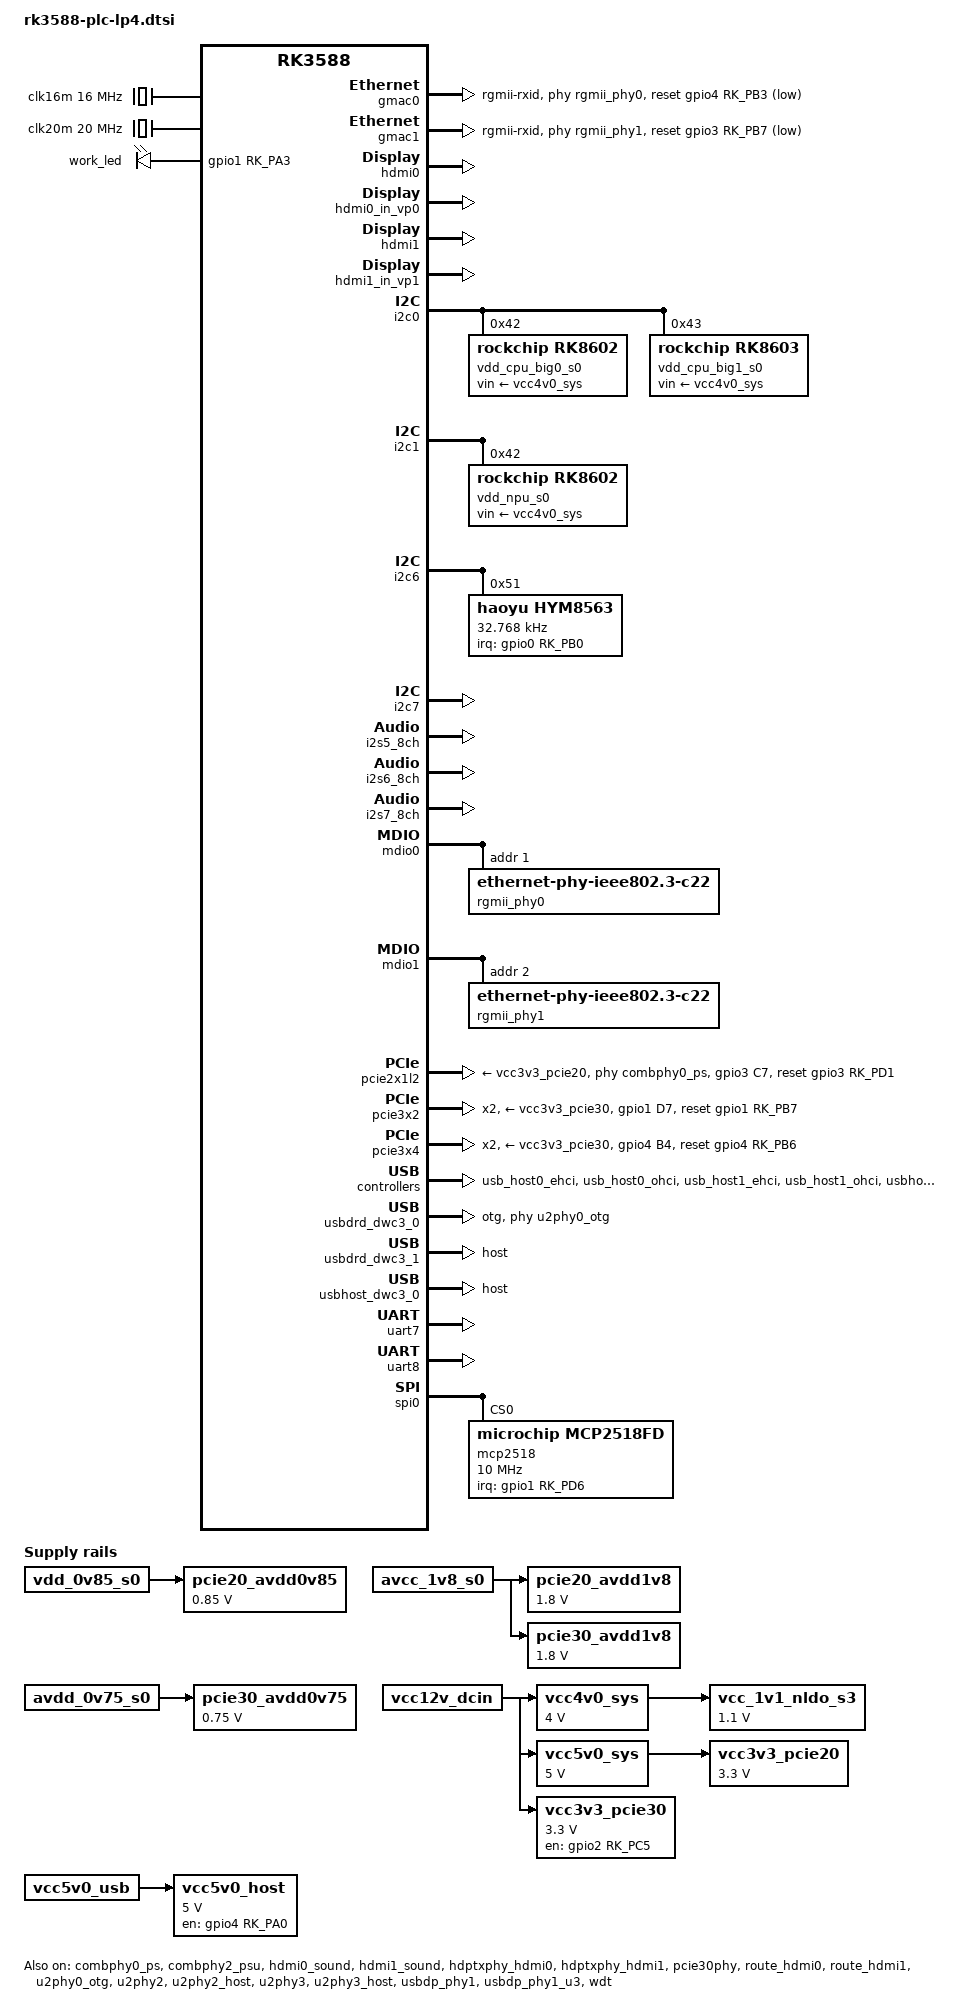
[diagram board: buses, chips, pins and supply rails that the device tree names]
// SPDX-License-Identifier: (GPL-2.0+ OR MIT)
/*
 * Copyright (c) 2021 Rockchip Electronics Co., Ltd.
 *
 */

#include "dt-bindings/usb/pd.h"
#include "rk3588.dtsi"
#include "rk3588-evb.dtsi"
#include "rk3588-rk806-single.dtsi"

/ {
	/* If hdmirx node is disabled, delete the reserved-memory node here. */
/*	reserved-memory {
		#address-cells = <2>;
		#size-cells = <2>;
		ranges;

		/* Reserve 128MB memory for hdmirx-controller@fdee0000 */
/*		cma {
			compatible = "shared-dma-pool";
			reusable;
			reg = <0x0 (256 * 0x100000) 0x0 (128 * 0x100000)>;
			linux,cma-default;
		};
	};
*/
	es8388_sound: es8388-sound {
		status = "disabled";
		compatible = "rockchip,multicodecs-card";
		rockchip,card-name = "rockchip-es8388";
		hp-det-gpio = <&gpio1 RK_PC4 GPIO_ACTIVE_LOW>;
		io-channels = <&saradc 3>;
		io-channel-names = "adc-detect";
		keyup-threshold-microvolt = <1800000>;
		poll-interval = <100>;
		spk-con-gpio = <&gpio4 RK_PA2 GPIO_ACTIVE_HIGH>;
		hp-con-gpio = <&gpio4 RK_PA7 GPIO_ACTIVE_HIGH>;
		rockchip,format = "i2s";
		rockchip,mclk-fs = <256>;
		rockchip,cpu = <&i2s0_8ch>;
		rockchip,codec = <&es8388>;
		rockchip,audio-routing =
			"Headphone", "LOUT1",
			"Headphone", "ROUT1",
			"Speaker", "LOUT2",
			"Speaker", "ROUT2",
			"Headphone", "Headphone Power",
			"Headphone", "Headphone Power",
			"Speaker", "Speaker Power",
			"Speaker", "Speaker Power",
			"LINPUT1", "Main Mic",
			"LINPUT2", "Main Mic",
			"RINPUT1", "Headset Mic",
			"RINPUT2", "Headset Mic";
		pinctrl-names = "default";
	//	pinctrl-0 = <&hp_det>;
		play-pause-key {
			label = "playpause";
			linux,code = <KEY_PLAYPAUSE>;
			press-threshold-microvolt = <2000>;
		};
	};

	/*fan: pwm-fan {
		compatible = "pwm-fan";
		#cooling-cells = <2>;
		pwms = <&pwm3 0 50000 0>;
		cooling-levels = <0 50 100 150 200 255>;
		rockchip,temp-trips = <
			50000	1
			55000	2
			60000	3
			65000	4
			70000	5
		>;
	};*/

	/*hdmiin-sound {
		compatible = "rockchip,hdmi";
		rockchip,mclk-fs = <128>;
		rockchip,format = "i2s";
		rockchip,bitclock-master = <&hdmirx_ctrler>;
		rockchip,frame-master = <&hdmirx_ctrler>;
		rockchip,card-name = "rockchip,hdmiin";
		rockchip,cpu = <&i2s7_8ch>;
		rockchip,codec = <&hdmirx_ctrler 0>;
		rockchip,jack-det;
	};*/

	pcie20_avdd0v85: pcie20-avdd0v85 {
		compatible = "regulator-fixed";
		regulator-name = "pcie20_avdd0v85";
		regulator-boot-on;
		regulator-always-on;
		regulator-min-microvolt = <850000>;
		regulator-max-microvolt = <850000>;
		vin-supply = <&vdd_0v85_s0>;
	};

	pcie20_avdd1v8: pcie20-avdd1v8 {
		compatible = "regulator-fixed";
		regulator-name = "pcie20_avdd1v8";
		regulator-boot-on;
		regulator-always-on;
		regulator-min-microvolt = <1800000>;
		regulator-max-microvolt = <1800000>;
		vin-supply = <&avcc_1v8_s0>;
	};

	pcie30_avdd0v75: pcie30-avdd0v75 {
		compatible = "regulator-fixed";
		regulator-name = "pcie30_avdd0v75";
		regulator-boot-on;
		regulator-always-on;
		regulator-min-microvolt = <750000>;
		regulator-max-microvolt = <750000>;
		vin-supply = <&avdd_0v75_s0>;
	};

	pcie30_avdd1v8: pcie30-avdd1v8 {
		compatible = "regulator-fixed";
		regulator-name = "pcie30_avdd1v8";
		regulator-boot-on;
		regulator-always-on;
		regulator-min-microvolt = <1800000>;
		regulator-max-microvolt = <1800000>;
		vin-supply = <&avcc_1v8_s0>;
	};

	/*sdio_pwrseq: sdio-pwrseq {
		compatible = "mmc-pwrseq-simple";
		clocks = <&hym8563>;
		clock-names = "ext_clock";
		pinctrl-names = "default";
		pinctrl-0 = <&wifi_enable_h>;
		/*
		 * On the module itself this is one of these (depending
		 * on the actual card populated):
		 * - SDIO_RESET_L_WL_REG_ON
		 * - PDN (power down when low)
		 */
		/*post-power-on-delay-ms = <200>;
		reset-gpios = <&gpio0 RK_PC4 GPIO_ACTIVE_LOW>;
	};*/

/*	rk_headset: rk-headset {
		status = "disabled";
		compatible = "rockchip_headset";
		headset_gpio = <&gpio1 RK_PD5 GPIO_ACTIVE_LOW>;
		pinctrl-names = "default";
		pinctrl-0 = <&hp_det>;
		io-channels = <&saradc 3>;
	};*/

	vcc4v0_sys: vcc4v0-sys {//FEP Pimc 是12转4
			compatible = "regulator-fixed";
			regulator-name = "vcc4v0_sys";
			regulator-always-on;
			regulator-boot-on;
			regulator-min-microvolt = <4000000>;
			regulator-max-microvolt = <4000000>;
			vin-supply = <&vcc12v_dcin>;
	};

	vcc_1v1_nldo_s3: vcc-1v1-nldo-s3 {
		compatible = "regulator-fixed";
		regulator-name = "vcc_1v1_nldo_s3";
		regulator-always-on;
		regulator-boot-on;
		regulator-min-microvolt = <1100000>;
		regulator-max-microvolt = <1100000>;
		vin-supply = <&vcc4v0_sys>;
	};

	/*vcc3v3_lcd_n: vcc3v3-lcd0-n {
		compatible = "regulator-fixed";
		regulator-name = "vcc3v3_lcd0_n";
		regulator-boot-on;
		enable-active-high;
		gpio = <&gpio2 RK_PC1 GPIO_ACTIVE_HIGH>;
		vin-supply = <&vcc_1v8_s0>;
	};*/

	vcc5v0_sys: vcc5v0-sys {//仿照飞凌
			compatible = "regulator-fixed";
			regulator-name = "vcc5v0_sys";
			regulator-always-on;
			regulator-boot-on;
			regulator-min-microvolt = <5000000>;
			regulator-max-microvolt = <5000000>;
			vin-supply = <&vcc12v_dcin>;
	};

	vcc3v3_pcie30: vcc3v3-pcie30 {
		compatible = "regulator-fixed";
		regulator-name = "vcc3v3_pcie30";
		regulator-min-microvolt = <3300000>;
		regulator-max-microvolt = <3300000>;
		enable-active-high;
		gpios = <&gpio2 RK_PC5 GPIO_ACTIVE_HIGH>;
		startup-delay-us = <5000>;
	//	startup-delay-us = <500000>;
		//startup-delay-us = <0>;
		vin-supply = <&vcc12v_dcin>;
	};

/*
	vcc3v3_pcie30: vcc3v3_pcie30 {//仿照飞凌
		compatible = "regulator-fixed";
		regulator-name = "vcc3v3_pcie30";
		regulator-boot-on;
		regulator-always-on;
		regulator-min-microvolt = <3300000>;
		gpios = <&gpio2 RK_PC5 GPIO_ACTIVE_HIGH>;//for plc
		regulator-max-microvolt = <3300000>;
		vin-supply = <&vcc5v0_sys>;
	};
*/

	vcc3v3_pcie20: vcc3v3-pcie20 {//仿照飞凌
		compatible = "regulator-fixed";
		regulator-name = "vcc3v3-pcie20";
		regulator-boot-on;
		regulator-always-on;
		regulator-min-microvolt = <3300000>;
		regulator-max-microvolt = <3300000>;
		vin-supply = <&vcc5v0_sys>;
	};


	vcc5v0_host: vcc5v0-host {
		compatible = "regulator-fixed";
		regulator-name = "vcc5v0_host";
		regulator-boot-on;
		regulator-always-on;
		regulator-min-microvolt = <5000000>;
		regulator-max-microvolt = <5000000>;
		enable-active-high;
		gpio = <&gpio4 RK_PA0 GPIO_ACTIVE_HIGH>;//FEP中GPIO4 RK_PB0与UART8的PIN脚冲突，到时要根据实际情况修改
		vin-supply = <&vcc5v0_usb>;
		pinctrl-names = "default";
		pinctrl-0 = <&vcc5v0_host_en>;
	};
/*
	vcc_mipicsi0: vcc-mipicsi0-regulator {
		compatible = "regulator-fixed";
		gpio = <&gpio1 RK_PD2 GPIO_ACTIVE_HIGH>;
		pinctrl-names = "default";
		pinctrl-0 = <&mipicsi0_pwr>;
		regulator-name = "vcc_mipicsi0";
		enable-active-high;
	};

	vcc_mipicsi1: vcc-mipicsi1-regulator {
		compatible = "regulator-fixed";
		gpio = <&gpio1 RK_PD3 GPIO_ACTIVE_HIGH>;
		pinctrl-names = "default";
		pinctrl-0 = <&mipicsi1_pwr>;
		regulator-name = "vcc_mipicsi1";
		enable-active-high;
	};

	vcc_mipidcphy0: vcc-mipidcphy0-regulator {
		compatible = "regulator-fixed";
		gpio = <&gpio2 RK_PC4 GPIO_ACTIVE_HIGH>;
		pinctrl-names = "default";
		pinctrl-0 = <&mipidcphy0_pwr>;
		regulator-name = "vcc_mipidcphy0";
		enable-active-high;
	};

	vcc_3v3_sd_s0: vcc-3v3-sd-s0-regulator {
		compatible = "regulator-fixed";
		gpio = <&gpio0 RK_PB7 GPIO_ACTIVE_HIGH>;
		pinctrl-names = "default";
		pinctrl-0 = <&sd_s0_pwr>;
		regulator-name = "vcc_3v3_sd_s0";
		enable-active-high;
	};

	wireless_bluetooth: wireless-bluetooth {
		compatible = "bluetooth-platdata";
		clocks = <&hym8563>;
		clock-names = "ext_clock";
		uart_rts_gpios = <&gpio4 RK_PC4 GPIO_ACTIVE_LOW>;
		pinctrl-names = "default", "rts_gpio";
		pinctrl-0 = <&uart9m0_rtsn>, <&bt_reset_gpio>, <&bt_wake_gpio>, <&bt_irq_gpio>;
		pinctrl-1 = <&uart9_gpios>;
		BT,reset_gpio    = <&gpio0 RK_PC6 GPIO_ACTIVE_HIGH>;
		BT,wake_gpio     = <&gpio0 RK_PC5 GPIO_ACTIVE_HIGH>;
		BT,wake_host_irq = <&gpio0 RK_PA0 GPIO_ACTIVE_HIGH>;
		status = "okay";
	};

	wireless_wlan: wireless-wlan {
		compatible = "wlan-platdata";
		wifi_chip_type = "ap6398s";
		pinctrl-names = "default";
		pinctrl-0 = <&wifi_host_wake_irq>;
		WIFI,host_wake_irq = <&gpio0 RK_PB2 GPIO_ACTIVE_HIGH>;
		WIFI,poweren_gpio = <&gpio0 RK_PC4 GPIO_ACTIVE_HIGH>;
		status = "okay";
	};
*/
	clk16m: clk16m{
                compatible = "fixed-clock";
                #clock-cells = <0>;
                clock-frequency = <16000000>;
        };


	clk20m: clk20m{
                compatible = "fixed-clock";
                #clock-cells = <0>;
                clock-frequency = <20000000>;
        };

};
/*
&backlight {
	pwms = <&pwm1 0 25000 0>;
	status = "okay";
};*/

&combphy0_ps {
	status = "okay";
};

&combphy1_ps {
	status = "disabled";
};

&combphy2_psu {
	status = "okay";
};

&dp0 {
	pinctrl-names = "default";
	//pinctrl-0 = <&dp0m1_pins>;
	//pinctrl-0 = <&dp0_hpd>;
//	hpd-gpios = <&gpio0 RK_PC4 GPIO_ACTIVE_HIGH>;
	status = "disabled";
};

&dp0_in_vp2 {
	status = "disabled";
};
/*
&dp1 {
	pinctrl-names = "default";
	pinctrl-0 = <&dp1m0_pins>;
	status = "okay";
};

&dp1_in_vp2 {
	status = "okay";
};
*/

/*
 * mipi_dcphy0 needs to be enabled
 * when dsi0 is enabled
 */
/*&dsi0 {
	status = "okay";
};

&dsi0_in_vp2 {
	status = "disabled";
};

&dsi0_in_vp3 {
	status = "disbaled";
};

&dsi0_panel {
	power-supply = <&vcc3v3_lcd_n>;
	reset-gpios = <&gpio0 RK_PD3 GPIO_ACTIVE_LOW>;
	pinctrl-names = "default";
	pinctrl-0 = <&lcd_rst_gpio>;
};
*/
/*
 * mipi_dcphy1 needs to be enabled
 * when dsi1 is enabled
 */
/*&dsi1 {
	status = "disabled";
};

&dsi1_in_vp2 {
	status = "disabled";
};

&dsi1_in_vp3 {
	status = "disabled";
};

&dsi1_panel {
	power-supply = <&vcc3v3_lcd_n>;*/

	/*
	 * because in hardware, the two screens share the reset pin,
	 * so reset-gpios need only in dsi1 enable and dsi0 disabled
	 * case.
	 */

	//reset-gpios = <&gpio0 RK_PD3 GPIO_ACTIVE_LOW>;
	//pinctrl-names = "default";
	//pinctrl-0 = <&lcd_rst_gpio>;
/*};*/

&gmac0 {
        /* Use rgmii-rxid mode to disable rx delay inside Soc */
        phy-mode = "rgmii-rxid";
        clock_in_out = "output";

        snps,reset-gpio = <&gpio4 RK_PB3 GPIO_ACTIVE_LOW>;//PLC的是GPIO4_B3
        snps,reset-active-low;
        /* Reset time is 20ms, 100ms for rtl8211f */
        snps,reset-delays-us = <0 20000 100000>;

        pinctrl-names = "default";
        pinctrl-0 = <&gmac0_miim
                     &gmac0_tx_bus2
                     &gmac0_rx_bus2
                     &gmac0_rgmii_clk
                     &gmac0_rgmii_bus>;

        tx_delay = <0x44>;
        /* rx_delay = <0x4f>; */

        phy-handle = <&rgmii_phy0>;
        status = "okay";
};

&gmac1 {
	/* Use rgmii-rxid mode to disable rx delay inside Soc */
	phy-mode = "rgmii-rxid";
	clock_in_out = "output";

	snps,reset-gpio = <&gpio3 RK_PB7 GPIO_ACTIVE_LOW>;//PLC 的是GPIO3_B7
	snps,reset-active-low;
	/* Reset time is 20ms, 100ms for rtl8211f */
	snps,reset-delays-us = <0 20000 100000>;

	pinctrl-names = "default";
	pinctrl-0 = <&gmac1_miim
		     &gmac1_tx_bus2
		     &gmac1_rx_bus2
		     &gmac1_rgmii_clk
		     &gmac1_rgmii_bus>;

	tx_delay = <0x44>;
	/* rx_delay = <0x3f>; */

	phy-handle = <&rgmii_phy1>;
	status = "okay";
};

&hdmi0 {
	enable-gpios = <&gpio4 RK_PB2 GPIO_ACTIVE_HIGH>;
	status = "okay";
};

&hdmi0_in_vp0 {
	status = "okay";
};

&hdmi0_sound {
	status = "okay";
};

&hdmi1 {
	enable-gpios = <&gpio4 RK_PA1 GPIO_ACTIVE_HIGH>;
	status = "okay";
};

&hdmi1_in_vp1 {
	status = "okay";
};

&hdmi1_sound {
	status = "okay";
};

/* Should work with at least 128MB cma reserved above. */
/*&hdmirx_ctrler {
	status = "disabled";

	#sound-dai-cells = <1>;
	/* Effective level used to trigger HPD: 0-low, 1-high */
	/*hpd-trigger-level = <1>;
	hdmirx-det-gpios = <&gpio1 RK_PD5 GPIO_ACTIVE_LOW>;
	pinctrl-names = "default";
	pinctrl-0 = <&hdmim1_rx &hdmirx_det>;
};*/

&hdptxphy_hdmi0 {
	status = "okay";
};

&hdptxphy_hdmi1 {
	status = "okay";
};

&hdptxphy_hdmi_clk0 {
	status = "okay";
};

&hdptxphy_hdmi_clk1 {
	status = "okay";
};

&display_subsystem { 
	clocks = <&hdptxphy_hdmi_clk0>,<&hdptxphy_hdmi_clk1>;
	clock-names = "hdmi0_phy_pll","hdmi1_phy_pll";
};

/*
&vp0 {
	assigned-clocks = <&cru DCLK_VOP0>;
	assigned-clock-parents = <&hdptxphy_hdmi_clk0>;
};

&vp1 {
	assigned-clocks = <&cru DCLK_VOP1>;
	assigned-clock-parents = <&hdptxphy_hdmi_clk1>;
};*/

&i2c0 {
	status = "okay";
	pinctrl-names = "default";
	pinctrl-0 = <&i2c0m2_xfer>;

	vdd_cpu_big0_s0: vdd_cpu_big0_mem_s0: rk8602@42 {
		compatible = "rockchip,rk8602";
		reg = <0x42>;
		vin-supply = <&vcc4v0_sys>;
		regulator-compatible = "rk860x-reg";
		regulator-name = "vdd_cpu_big0_s0";
		regulator-min-microvolt = <550000>;
		regulator-max-microvolt = <1050000>;
		regulator-ramp-delay = <2300>;
		rockchip,suspend-voltage-selector = <1>;
		regulator-boot-on;
		regulator-always-on;
		regulator-state-mem {
			regulator-off-in-suspend;
		};
	};

	vdd_cpu_big1_s0: vdd_cpu_big1_mem_s0: rk8603@43 {
		compatible = "rockchip,rk8603";
		reg = <0x43>;
		vin-supply = <&vcc4v0_sys>;
		regulator-compatible = "rk860x-reg";
		regulator-name = "vdd_cpu_big1_s0";
		regulator-min-microvolt = <550000>;
		regulator-max-microvolt = <1050000>;
		regulator-ramp-delay = <2300>;
		rockchip,suspend-voltage-selector = <1>;
		regulator-boot-on;
		regulator-always-on;
		regulator-state-mem {
			regulator-off-in-suspend;
		};
	};
};

&i2c1 {
	status = "okay";
	pinctrl-names = "default";
	pinctrl-0 = <&i2c1m2_xfer>;

	vdd_npu_s0: vdd_npu_mem_s0: rk8602@42 {
		compatible = "rockchip,rk8602";
		reg = <0x42>;
		vin-supply = <&vcc4v0_sys>;
		regulator-compatible = "rk860x-reg";
		regulator-name = "vdd_npu_s0";
		regulator-min-microvolt = <550000>;
		regulator-max-microvolt = <950000>;
		regulator-ramp-delay = <2300>;
		rockchip,suspend-voltage-selector = <1>;
		regulator-boot-on;
		regulator-always-on;
		regulator-state-mem {
			regulator-off-in-suspend;
		};
	};
};

/*&i2c4 {
	status = "okay;
	pinctrl-0 = <&i2c4m1_xfer>;

	ls_stk3332: light@47 {
		compatible = "ls_stk3332";
		status = "disabled";
		reg = <0x47>;
		type = <SENSOR_TYPE_LIGHT>;
		irq_enable = <0>;
		als_threshold_high = <100>;
		als_threshold_low = <10>;
		als_ctrl_gain = <2>; // 0:x1 1:x4 2:x16 3:x64 
		poll_delay_ms = <100>;
	};

	ps_stk3332: proximity@47 {
		compatible = "ps_stk3332";
		status = "disabled";
		reg = <0x47>;
		type = <SENSOR_TYPE_PROXIMITY>;
		//pinctrl-names = "default";
		//pinctrl-0 = <&gpio3_c6>;
		//irq-gpio = <&gpio3 RK_PC6 IRQ_TYPE_LEVEL_LOW>;
		//irq_enable = <1>;
		ps_threshold_high = <0x200>;
		ps_threshold_low = <0x100>;
		ps_ctrl_gain = <3>; // 0:x1 1:x2 2:x5 3:x8 
		ps_led_current = <4>; // 0:3.125mA 1:6.25mA 2:12.5mA 3:25mA 4:50mA 5:100mA
		poll_delay_ms = <100>;
	};

	icm42607_acc: icm_acc@68 {
		status = "disabled";
		compatible = "icm42607_acc";
		reg = <0x68>;
		irq-gpio = <&gpio4 RK_PC2 IRQ_TYPE_EDGE_RISING>;
		irq_enable = <0>;
		poll_delay_ms = <30>;
		type = <SENSOR_TYPE_ACCEL>;
		layout = <0>;
	};

	icm42607_gyro: icm_gyro@68 {
		status = "disabled";
		compatible = "icm42607_gyro";
		reg = <0x68>;
		poll_delay_ms = <30>;
		type = <SENSOR_TYPE_GYROSCOPE>;
		layout = <0>;
	};
};
*/
&i2c5 {
	status = "disabled";

	/*extio: tca6424@23 {//飞凌开发板上的扩展IO
			compatible = "ti,tca6424";
			reg = <0x23>;
			interrupt-parent = <&gpio1>;
			interrupts = <RK_PA4 IRQ_TYPE_EDGE_FALLING>;
			gpio-controller;
			pinctrl-0 = <&extio_int_gpio>;
			pinctrl-names = "default";
			#gpio-cells = <2>;
			status = "okay";
	};

	pca9555_1: pca9555-1@20 {
			compatible = "nxp,pca9555";
			reg = <0x20>;
			//interrupt-parent = <&gpio1>;
			//interrupts = <RK_PA4 IRQ_TYPE_EDGE_FALLING>;
			//gpio-controller;
			//pinctrl-0 = <&extio_int_gpio>;
			//pinctrl-names = "default";
			//#gpio-cells = <2>;//声明了设备结点gpio cells的个数。 第一个cell表示gpio号，第二个cell表示gpio有效电平
			status = "okay";
	};

	pca9555_2: pca9555-2@21 {
		compatible = "nxp,pca9555";
		reg = <0x21>;
		status = "okay";
	};

	
	pca9555_3: pca9555-3@22 {
		compatible = "nxp,pca9555";
		reg = <0x22>;
		status = "okay";
	};

	pca9555_4: pca9555-4@24 {
		compatible = "nxp,pca9555";
		reg = <0x24>;
		status = "okay";
	};

		pca9555_5: pca9555-5@26 {
		compatible = "nxp,pca9555";
		reg = <0x26>;
		status = "okay";
	};*/
};

&i2c6 {
	status = "okay";
	hym8563: hym8563@51 {
		compatible = "haoyu,hym8563";
		reg = <0x51>;
		#clock-cells = <0>;
		clock-frequency = <32768>;
		clock-output-names = "hym8563";
		pinctrl-names = "default";
		pinctrl-0 = <&hym8563_int>;
		interrupt-parent = <&gpio0>;
		interrupts = <RK_PB0 IRQ_TYPE_LEVEL_LOW>;
		wakeup-source;
	};
};

&i2c7 {
	status = "okay";
	es8388: es8388@11 {
		status = "disabled";
		#sound-dai-cells = <0>;
		compatible = "everest,es8388", "everest,es8323";
		reg = <0x11>;
		clocks = <&mclkout_i2s0>;
		clock-names = "mclk";
		assigned-clocks = <&mclkout_i2s0>;
		assigned-clock-rates = <12288000>;
		pinctrl-names = "default";
		pinctrl-0 = <&i2s0_mclk>;
	};
};

&i2s2_2ch {
	pinctrl-0 = <&i2s2m0_sclk &i2s2m0_lrck &i2s2m0_sdi &i2s2m0_sdo>;
	status = "disabled";
};

&i2s5_8ch {
	status = "okay";
};

&i2s6_8ch {
	status = "okay";
};

&i2s7_8ch {
	status = "okay";
};

&mdio0 {
        rgmii_phy0: phy@1 {
                compatible = "ethernet-phy-ieee802.3-c22";
                reg = <0x1>;
        };
};

&mdio1 {
        rgmii_phy1: phy@1 {
                compatible = "ethernet-phy-ieee802.3-c22";
                reg = <0x2>;//飞凌设的是2
        };
};

&mipi_dcphy0 {
	status = "disabled";
};

&mipi_dcphy1 {
	status = "disabled";
};

&pcie2x1l0 {//fe170000 
	phys = <&combphy1_ps PHY_TYPE_PCIE>;
	//phys = <&pcie30phy>;
	reset-gpios = <&gpio4 RK_PA5 GPIO_ACTIVE_HIGH>;//ECU的是 GPIO1 B4
	//reset-gpios = <&gpio1 RK_PB4 GPIO_ACTIVE_HIGH>;
	vpcie3v3-supply = <&vcc3v3_pcie20>;
//	vpcie3v3-supply =<&vcc3v3_pcie30>;
	pinctrl-0 = <&pcie30X1_0_clkreqn_m1>;
	status = "disabled";
};

&pcie2x1l1 {//fe180000 FEP 用到
	phys = <&combphy2_psu PHY_TYPE_PCIE>;
	//phys = <&pcie30phy>;
	reset-gpios = <&gpio1 RK_PA7 GPIO_ACTIVE_HIGH>;
	vpcie3v3-supply = <&vcc3v3_pcie20>;//电源树到时按FEP的来
//	vpcie3v3-supply =<&vcc3v3_pcie30>;
//	rockchip,perst-inactive-ms = <1000>;
	pinctrl-0 = <&pcie30X1_1_clkreqn_m2>;
	status = "disabled";
};

&pcie2x1l2 {//fe190000 飞凌用到
	phys = <&combphy0_ps PHY_TYPE_PCIE>;
	reset-gpios = <&gpio3 RK_PD1 GPIO_ACTIVE_HIGH>;
	vpcie3v3-supply = <&vcc3v3_pcie20>;
	pinctrl-0 = <&PCIE20X1_2_clkreqn_m0>;
	rockchip,perst-inactive-ms = <1500>;
	status = "okay";
};

&pcie30phy {//pcie3x2和pcie3x4都是用这个PHY
	//rockchip,pcie30-phymode = <PHY_MODE_PCIE_NABIBI>;//4x1
	rockchip,pcie30-phymode = <PHY_MODE_PCIE_NANBNB>;//2x2
	status = "okay";
};

&pcie3x2 {
	num-lanes = <2>;
	reset-gpios = <&gpio1 RK_PB7 GPIO_ACTIVE_HIGH>;
	vpcie3v3-supply = <&vcc3v3_pcie30>;
	pinctrl-0 = <&pcie30X2_clkreqn_m3>;
	rockchip,perst-inactive-ms = <500>;
	status = "okay";
};

&pcie3x4 {
	num-lanes = <2>;
	reset-gpios = <&gpio4 RK_PB6 GPIO_ACTIVE_HIGH>;//与FEP相同，另一个3.0X2的是GPIO1-B7
	vpcie3v3-supply = <&vcc3v3_pcie30>;
	//pinctrl-0 = <&pcie20x1_0_clkreqn_m1>;
	pinctrl-0 = <&pcie30x4_clkreqn_m1>;
	status = "okay";
};

&pinctrl {

	/*cam {
		mipicsi0_pwr: mipicsi0-pwr {
			rockchip,pins =
				// camera power en 
				<1 RK_PD2 RK_FUNC_GPIO &pcfg_pull_none>;
		};
		mipicsi1_pwr: mipicsi1-pwr {
			rockchip,pins =
				// camera power en 
				<1 RK_PD3 RK_FUNC_GPIO &pcfg_pull_none>;
		};
		mipidcphy0_pwr: mipidcphy0-pwr {
			rockchip,pins =
				// camera power en 
				<2 RK_PC4 RK_FUNC_GPIO &pcfg_pull_none>;
		};
	};*/

	/*vga {
		vga_hpdin_l: vga-hpdin-l {
			rockchip,pins = <3 RK_PA6 RK_FUNC_GPIO &pcfg_pull_none>;
		};
	};*/

	/*hdmi {
		hdmirx_det: hdmirx-det {
			rockchip,pins = <1 RK_PD5 RK_FUNC_GPIO &pcfg_pull_up>;
		};
	};

	headphone {
		hp_det: hp-det {
			rockchip,pins = <1 RK_PC4 RK_FUNC_GPIO &pcfg_pull_none>;
		};
	};*/

	hym8563 {
		hym8563_int: hym8563-int {
			rockchip,pins = <0 RK_PB0 RK_FUNC_GPIO &pcfg_pull_up>;

		};
	};
	/*
	extio {
		extio_int_gpio: extio-int-gpio {
				rockchip,pins = <1 RK_PA4 RK_FUNC_GPIO &pcfg_pull_up>;
		};
	};

	lcd {
		lcd_rst_gpio: lcd-rst-gpio {
			rockchip,pins = <0 RK_PD3 RK_FUNC_GPIO &pcfg_pull_none>;
		};
	};

	sdio-pwrseq {
		wifi_enable_h: wifi-enable-h {
			rockchip,pins = <0 RK_PC4 RK_FUNC_GPIO &pcfg_pull_up>;
		};
	};

	sdmmc {
		sd_s0_pwr: sd-s0-pwr {
			rockchip,pins = <0 RK_PB7 RK_FUNC_GPIO &pcfg_pull_up>;
		};
	};

	touch {
		touch_gpio: touch-gpio {
			rockchip,pins =
				<3 RK_PC1 RK_FUNC_GPIO &pcfg_pull_down>,
				<3 RK_PC0 RK_FUNC_GPIO &pcfg_pull_up>;
		};
	};*/

	usb {
		vcc5v0_host_en: vcc5v0-host-en {
			rockchip,pins = <4 RK_PA0 RK_FUNC_GPIO &pcfg_pull_none>;
		};
	};

	pcie {
                pcie30x4_clkreqn_m1: pcie30x4-clkreqn-m1 {
                        rockchip,pins = <4 RK_PB4 RK_FUNC_GPIO &pcfg_output_low>;
               	};
 
		pcie30X2_clkreqn_m3: pcie30x2-clkreqn-m3 {
                        rockchip,pins = <1 RK_PD7 RK_FUNC_GPIO &pcfg_output_low>;
		};
		
		PCIE20X1_2_clkreqn_m0: pcie20X1_2_clkreqn-m0{
			rockchip,pins = <3 RK_PC7 RK_FUNC_GPIO &pcfg_output_low>;//PCIE to lan
		};

		pcie30X1_1_clkreqn_m2: pcie30X1_1_clkreqn-m2{
			rockchip,pins = <1 RK_PA0 RK_FUNC_GPIO &pcfg_output_low>;//PCIE to m.2
		};
		pcie30X1_0_clkreqn_m1: pcie30X1_0_clkreqn-m1{
			rockchip,pins = <4 RK_PA3 RK_FUNC_GPIO &pcfg_output_low>;
		};
        };


	/*wireless-bluetooth {
		uart9_gpios: uart9-gpios {
			rockchip,pins = <4 RK_PC4 RK_FUNC_GPIO &pcfg_pull_none>;
		};

		bt_reset_gpio: bt-reset-gpio {
			rockchip,pins = <0 RK_PC6 RK_FUNC_GPIO &pcfg_pull_none>;
		};

		bt_wake_gpio: bt-wake-gpio {
			rockchip,pins = <0 RK_PC5 RK_FUNC_GPIO &pcfg_pull_none>;
		};

		bt_irq_gpio: bt-irq-gpio {
			rockchip,pins = <0 RK_PA0 RK_FUNC_GPIO &pcfg_pull_none>;
		};
	};

	wireless-wlan {
		wifi_host_wake_irq: wifi-host-wake-irq {
			rockchip,pins = <0 RK_PB2 RK_FUNC_GPIO &pcfg_pull_down>;
		};
	};

	dp {
		dp0_hpd: dp0-hpd {
			rockchip,pins = <0 RK_PC4 RK_FUNC_GPIO &pcfg_pull_none>;
		};
	};*/
	
	xl2515-int {
		xl2515_int: xl2515-int0 {
			rockchip,pins = <1 RK_PD6 RK_FUNC_GPIO &pcfg_pull_none>;
		};
	};
};

/*&pwm1 {
	status = "okay";
};

&pwm3 {
	pinctrl-0 = <&pwm3m1_pins>;
	pinctrl-names = "active";
        pwms = <&pwm5 0 25000 0>;

	status = "okay";
};*/

/*&route_dsi0 {
	status = "disabled";
	connect = <&vp3_out_dsi0>;
};

&route_dsi1 {
	status = "disabled";
	connect = <&vp3_out_dsi1>;
};*/

&route_hdmi0 {
	status = "okay";
};

&route_hdmi1 {
	status = "okay";
};

&sata0 {
	status = "disabled";//disabled for PLC
};

/*&sdio {
	max-frequency = <150000000>;
	no-sd;
	no-mmc;
	bus-width = <4>;
	disable-wp;
	cap-sd-highspeed;
	cap-sdio-irq;
	keep-power-in-suspend;
	mmc-pwrseq = <&sdio_pwrseq>;
	non-removable;
	pinctrl-names = "default";
	pinctrl-0 = <&sdiom0_pins>;
	sd-uhs-sdr104;
	status = "okay";
};

&sdmmc {
	status = "okay";
	vmmc-supply = <&vcc_3v3_sd_s0>;
};

&uart9 {
	status = "okay";
	pinctrl-names = "default";
	pinctrl-0 = <&uart9m0_xfer &uart9m0_ctsn>;
};*/

//配置属性 "rockchip,sel-pipe-phystatus", 表示选择 GRF 控制 pipe phystatus ，替代 USBDP PHY 的
//控制
&u2phy0_otg {
	rockchip,sel-pipe-phystatus;
	status = "okay";
};

&u2phy1_otg {
	phy-supply = <&vcc5v0_host>;
	//status = "okay";
};

&u2phy2 {
	phy-supply = <&vcc5v0_host>;
	status = "okay";
};

&u2phy2_host {
	phy-supply = <&vcc5v0_host>;
	status = "okay";
};

&u2phy3 {
	phy-supply = <&vcc5v0_host>;
	status = "okay";
};

&u2phy3_host {
	phy-supply = <&vcc5v0_host>;
	status = "okay";
};

&usb_host0_ehci {
	status = "okay";
};

&usb_host0_ohci {
	status = "okay";
};

&usb_host1_ehci {
	status = "okay";
};

&usb_host1_ohci {
	status = "okay";
};

&usbdp_phy0 {
	//rockchip,dp-lane-mux = <2 3>;
	status = "disabled";
};

&usbdp_phy0_dp {
	status = "disabled";
};

&usbdp_phy0_u3 {
	status = "disabled";
};

&usbdp_phy1 {
	rockchip,dp-lane-mux = <2 3>;
	status = "okay";
};

&usbdp_phy1_dp {
	status = "disabled";
};

&usbdp_phy1_u3 {
	//maximum-speed = "high-speed";
	status = "okay";
};

&usbdrd_dwc3_0 {//otg3.1 控制器
	dr_mode = "otg";
	//dr_mode = "peripheral";//通知 DWC3 驱动初始化为 Device only mode
	phys = <&u2phy0_otg>;//即不引用 USBDP PHY
	phy-names = "usb2-phy";
	maximum-speed = "high-speed";//通知 DWC3 驱动将 USB 限制为 USB2.0 only
	extcon = <&u2phy0>;
};

&usbdrd_dwc3_1 {//otg3.1 控制器
	dr_mode = "host";
	//maximum-speed = "high-speed";
	//extcon = <&u2phy1>;
	status = "okay";
};

&usbhost3_0{
	status = "okay";
};

&usbhost_dwc3_0 {//打开USB HOST 3.1
	dr_mode = "host";
	status = "okay";
};

&uart0 {
	status = "disabled";
	pinctrl-names = "default";
	dma-names = "tx", "rx";
	pinctrl-0 = <&uart0m2_xfer>;
};

&uart3 {
	status = "disabled";
	pinctrl-names = "default";
	pinctrl-0 = <&uart3m2_xfer>;
};

&uart5 {
	status = "disabled";
	pinctrl-names = "default";
	pinctrl-0 = <&uart5m1_xfer>;
};

&uart6 {
	status = "disabled";
	pinctrl-names = "default";
	pinctrl-0 = <&uart6m1_xfer>;
};

&uart7 {
	status = "okay";
	pinctrl-names = "default";
	pinctrl-0 = <&uart7m1_xfer>;
};

&uart8 {
	status = "okay";
	pinctrl-names = "default";
	pinctrl-0 = <&uart8m0_xfer>;
};

&uart4 {
	status = "disabled";
	pinctrl-names = "default";
	pinctrl-0 = <&uart4m2_xfer>;
};

&uart9 {
	status = "disabled";
	pinctrl-names = "default";
	dma-names = "tx", "rx";
	pinctrl-0 = <&uart9m2_xfer>;
};

&spi0 { //引用spi 控制器节点
	status = "okay";
	pinctrl-names ="default","high_speed";
//	pinctrl-0 = <&spi0m3_cs0 &spi0m3_pins>;
	pinctrl-0 = <&spi0m2_cs0 &spi0m2_pins>;//PLC
	//spi-max-frequency = <1000000>;

	spidev1: spidev@0{
        	compatible = "rockchip,spidev";
        	status = "disabled";
        	reg = <0x0>;
        	spi-max-frequency = <50000000>;
	};	

	xl2515_1: xl2515-1@0{
                compatible = "microchip,mcp2515";
                pinctrl-names = "default";
		pinctrl-0 = <&xl2515_int>;
		reg = <0>;
                clocks = <&clk16m>;
		spi-max-frequency = <1000000>;
//		rx-sample-delay-ns = <10>;
                interrupt-parent = <&gpio1>;
                interrupts = <RK_PD6 IRQ_TYPE_LEVEL_LOW>;
		//vdd-supply = <&vcc5v0_sys>;
                //xceiver-supply = <&vcc5v0_sys>;
                //gpio-controller;
                //gpio-cells = <2>;
		status = "disabled";
	};

	 mcp2518: mcp2518@0 {
            compatible = "microchip,mcp2518fd";
            reg = <0>;
            clocks = <&clk20m>;
            pinctrl-names = "default";
            //pinctrl-0 = <&can0_pins>;
            spi-max-frequency = <10000000>;
            //interrupt-parent = <&gpio1>;
            //interrupts = <RK_PD6 IRQ_TYPE_LEVEL_LOW>;
	    interrupts-extended = <&gpio1 RK_PD6 IRQ_TYPE_LEVEL_LOW>;
            //microchip,rx-int = <&gpio1 RK_PB2 GPIO_ACTIVE_LOW>;
            //vdd-supply = <&reg5v0>;
            //xceiver-supply = <&reg5v0>;
	    status = "ok";
        };

};

&pwm5 {
	pinctrl-names = "active";
	pinctrl-0 = <&pwm5m1_pins>;
	pwms = <&pwm5 0 25000 0>;
	status = "disabled";
};

&wdt {
	status = "okay";
};

&leds {
                compatible = "gpio-leds";
                work_led: work {
                        compatible = "gpio-leds";
			gpios = <&gpio1 RK_PA3 GPIO_ACTIVE_HIGH>;
                        linux,default-trigger = "timer";
                };
};

&cpu_b0 {
	cpu-supply = <&vdd_cpu_big0_s0>;
};

&cpu_b1 {
	cpu-supply = <&vdd_cpu_big0_s0>;
};

&cpu_b2 {
	cpu-supply = <&vdd_cpu_big1_s0>;
};

&cpu_b3 {
	cpu-supply = <&vdd_cpu_big1_s0>;
};
